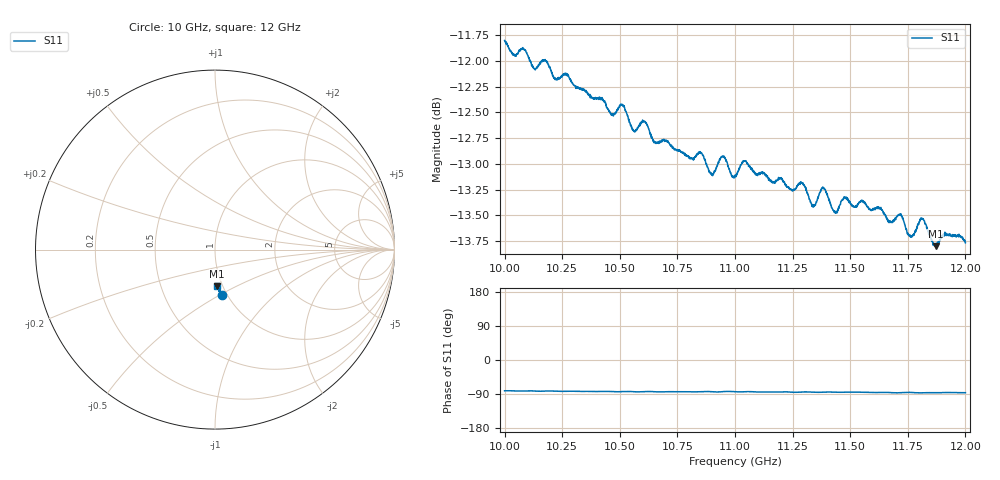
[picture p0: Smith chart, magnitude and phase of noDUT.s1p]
[Version] 2.0
! Rohde & Schwarz Vector Network Analyzer
! Rohde-Schwarz,ZNL20-2Port,1323001220200009,1.71.1.10-23.02.1.238
! Port Assignments:
! Nominal Port -> Actual Test Port
!  1 -> 1
! Created: GMT 2024-09-04 14:04:29
# Hz S DB R 50
[Number of Ports] 1
! freq[Hz]  S11[mag dB]  S11[ang]
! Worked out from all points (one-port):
!   2001 points, 10 GHz to 12 GHz, reference 50 ohm
!   lowest |S11| = -13.8 dB at 11.87 GHz (marker M1), VSWR 1.51, Z = 47.1 - j20 ohm
!   |S11| at or under -10 dB: start of sweep to end of sweep
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[Number of Frequencies] 28
[Network Data]
1e10  -11.80 -81.3
1.0127e10  -12.08 -81.8
1.0173e10  -12.00 -82.1
1.025e10  -12.14 -82.8
1.0465e10  -12.52 -83.3
1.05e10  -12.43 -83.6
1.056e10  -12.67 -83.7
1.0606e10  -12.59 -83.6
1.0651e10  -12.79 -83.7
1.075e10  -12.88 -83.8
1.0852e10  -12.90 -83.7
1.0898e10  -13.09 -83.6
1.0949e10  -12.93 -83.5
1.1e10  -13.11 -83.9
1.1041e10  -12.97 -83.8
1.125e10  -13.25 -85.1
1.1293e10  -13.19 -84.5
1.1341e10  -13.41 -85.3
1.1385e10  -13.23 -84.7
1.1435e10  -13.48 -85.1
1.15e10  -13.37 -84.8
1.1674e10  -13.56 -85.9
1.1716e10  -13.49 -86.4
1.175e10  -13.68 -85.5
1.1813e10  -13.53 -86.6
1.1871e10  -13.80 -86.5
1.1915e10  -13.68 -85.8
1.2e10  -13.77 -86.3
[End]
